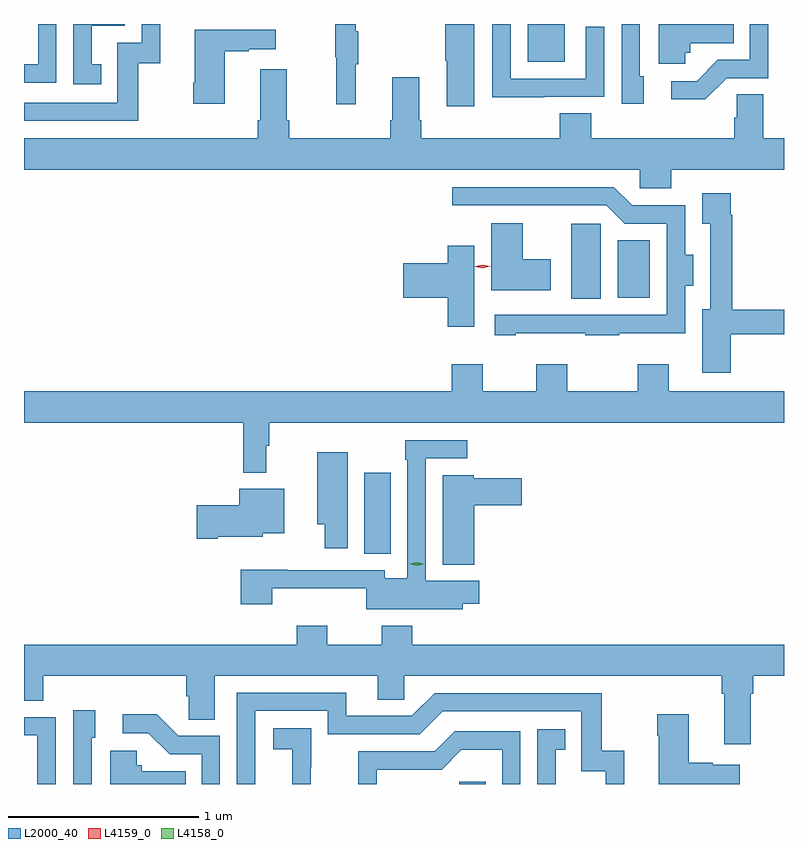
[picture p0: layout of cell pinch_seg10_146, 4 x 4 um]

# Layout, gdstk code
import gdstk
lib = gdstk.Library(unit=1e-6, precision=1e-09)
def R(c, l, rs):  # rectangles x0, y0, x1, y1
    for r in rs: c.add(gdstk.rectangle(r[:2], r[2:], *l))
def P(c, l, *ps):  # polygons
    for p in ps: c.add(gdstk.Polygon(p, *l))
L2000_40 = (2000, 40)
L4158_0 = (4158, 0)
L4159_0 = (4159, 0)

pinch_seg10_146 = lib.new_cell('pinch_seg10_146')
R(pinch_seg10_146, L2000_40, [(672.009,1274.438,672.149,1274.451), (671.51,1275.649,671.647,1276.075), (672.599,1276.993,672.754,1277.388), (672.842,1276.997,673.012,1277.299), (672.368,1278.239,672.565,1278.438)])
P(pinch_seg10_146, L2000_40, [(672.455,1278.054),(672.771,1278.054),(672.771,1278.424),(672.675,1278.424),(672.675,1278.15),(672.279,1278.15),(672.279,1278.438),(672.183,1278.438),(672.183,1278.053),(672.455,1278.053)],
  [(672.979,1278.162),(672.96,1278.162),(672.96,1278.438),(672.864,1278.438),(672.864,1278.018),(672.979,1278.018)],
  [(673.197,1278.288),(673.224,1278.288),(673.224,1278.338),(673.454,1278.338),(673.454,1278.438),(673.058,1278.438),(673.058,1278.23),(673.197,1278.23)],
  [(670.124,1278.225),(670.075,1278.225),(670.075,1278.429),(670.248,1278.429),(670.248,1278.438),(669.978,1278.438),(669.978,1278.12),(670.124,1278.12)],
  [(669.888,1278.438),(669.792,1278.438),(669.792,1278.226),(669.718,1278.226),(669.718,1278.129),(669.888,1278.129)],
  [(670.318,1278.231),(670.436,1278.231),(670.436,1278.438),(670.338,1278.438),(670.338,1278.339),(670.209,1278.339),(670.209,1278.024),(669.718,1278.024),(669.718,1277.928),(670.318,1277.928)],
  [(672.088,1278.438),(671.935,1278.438),(671.935,1278.244),(671.942,1278.244),(671.942,1278.006),(672.088,1278.006)],
  [(673.416,1278.153),(673.635,1278.153),(673.635,1278.438),(673.539,1278.438),(673.539,1278.249),(673.37,1278.249),(673.259,1278.138),(673.125,1278.138),(673.125,1278.041),(673.303,1278.041)],
  [(671.465,1278.227),(671.476,1278.227),(671.476,1278.401),(671.465,1278.401),(671.465,1278.438),(671.355,1278.438),(671.355,1278.264),(671.362,1278.264),(671.362,1278.015),(671.465,1278.015)],
  [(670.774,1278.295),(670.901,1278.295),(670.901,1278.305),(671.044,1278.305),(671.044,1278.409),(670.616,1278.409),(670.616,1278.13),(670.609,1278.13),(670.609,1278.018),(670.774,1278.018)],
  [(673.124,1277.672),(673.718,1277.672),(673.718,1277.836),(673.609,1277.836),(673.609,1278.068),(673.47,1278.068),(673.47,1277.945),(673.457,1277.945),(673.457,1277.836),(672.704,1277.836),(672.704,1277.969),(672.539,1277.969),(672.539,1277.836),(671.81,1277.836),(671.81,1277.932),(671.797,1277.932),(671.797,1278.157),(671.657,1278.157),(671.657,1277.932),(671.645,1277.932),(671.645,1277.836),(671.114,1277.836),(671.114,1277.932),(671.101,1277.932),(671.101,1278.199),(670.961,1278.199),(670.961,1277.932),(670.949,1277.932),(670.949,1277.836),(669.718,1277.836),(669.718,1277.672),(672.96,1277.672),(672.96,1277.574),(673.124,1277.574)],
  [(672.307,1276.811),(672.673,1276.811),(672.673,1276.8),(672.851,1276.8),(672.851,1276.811),(673.197,1276.811),(673.197,1277.06),(673.24,1277.06),(673.24,1277.224),(673.198,1277.224),(673.198,1277.484),(672.918,1277.484),(672.822,1277.58),(671.973,1277.58),(671.973,1277.484),(672.783,1277.484),(672.879,1277.388),(673.101,1277.388),(673.101,1276.908),(672.195,1276.908),(672.195,1276.8),(672.307,1276.8)],
  [(673.439,1276.806),(673.718,1276.806),(673.718,1276.934),(673.445,1276.934),(673.445,1277.435),(673.438,1277.435),(673.438,1277.548),(673.289,1277.548),(673.289,1277.387),(673.329,1277.387),(673.329,1276.936),(673.289,1276.936),(673.289,1276.602),(673.439,1276.602)],
  [(672.49,1277.2),(672.343,1277.2),(672.343,1277.389),(672.176,1277.389),(672.176,1277.036),(672.49,1277.036)],
  [(672.088,1277.272),(671.948,1277.272),(671.948,1277.18),(671.715,1277.18),(671.715,1276.997),(671.948,1276.997),(671.948,1276.845),(672.088,1276.845)],
  [(670.994,1276.217),(671.009,1276.217),(671.009,1276.34),(673.718,1276.34),(673.718,1276.504),(673.111,1276.504),(673.111,1276.648),(672.947,1276.648),(672.947,1276.504),(672.577,1276.504),(672.577,1276.648),(672.413,1276.648),(672.413,1276.504),(672.133,1276.504),(672.133,1276.648),(671.969,1276.648),(671.969,1276.504),(669.718,1276.504),(669.718,1276.34),(670.873,1276.34),(670.873,1276.077),(670.994,1276.077)],
  [(672.027,1275.386),(672.115,1275.386),(672.115,1275.508),(671.832,1275.508),(671.832,1276.152),(672.052,1276.152),(672.052,1276.248),(671.724,1276.248),(671.724,1276.145),(671.736,1276.145),(671.736,1275.52),(671.616,1275.52),(671.616,1275.564),(671.107,1275.564),(671.107,1275.565),(670.859,1275.565),(670.859,1275.384),(671.024,1275.384),(671.024,1275.467),(671.52,1275.467),(671.52,1275.359),(672.027,1275.359)],
  [(671.422,1276.183),(671.261,1276.183),(671.261,1275.806),(671.3,1275.806),(671.3,1275.678),(671.422,1275.678)],
  [(672.088,1275.905),(672.337,1275.905),(672.337,1276.047),(672.084,1276.047),(672.084,1276.063),(671.921,1276.063),(671.921,1275.593),(672.088,1275.593)],
  [(670.738,1275.74),(670.974,1275.74),(670.974,1275.758),(671.089,1275.758),(671.089,1275.991),(670.85,1275.991),(670.85,1275.906),(670.626,1275.906),(670.626,1275.728),(670.738,1275.728)],
  [(671.313,1275.271),(671.153,1275.271),(671.153,1275.172),(669.718,1275.172),(669.718,1274.875),(669.818,1274.875),(669.818,1275.008),(670.571,1275.008),(670.571,1274.899),(670.584,1274.899),(670.584,1274.776),(670.723,1274.776),(670.723,1275.008),(671.579,1275.008),(671.579,1274.881),(671.718,1274.881),(671.718,1275.008),(673.391,1275.008),(673.391,1274.912),(673.403,1274.912),(673.403,1274.646),(673.543,1274.646),(673.543,1274.912),(673.556,1274.912),(673.556,1275.008),(673.718,1275.008),(673.718,1275.172),(671.762,1275.172),(671.762,1275.271),(671.602,1275.271),(671.602,1275.172),(671.313,1275.172)],
  [(670.935,1274.823),(671.316,1274.823),(671.316,1274.7),(671.802,1274.7),(671.922,1274.82),(672.651,1274.82),(672.651,1274.505),(672.78,1274.505),(672.78,1274.438),(672.878,1274.438),(672.878,1274.614),(672.76,1274.614),(672.76,1274.916),(671.88,1274.916),(671.76,1274.796),(671.413,1274.796),(671.413,1274.919),(670.839,1274.919),(670.839,1274.438),(670.935,1274.438)],
  [(670.074,1274.682),(670.093,1274.682),(670.093,1274.827),(669.978,1274.827),(669.978,1274.438),(670.074,1274.438)],
  [(673.486,1274.539),(673.343,1274.539),(673.343,1274.549),(673.216,1274.549),(673.216,1274.806),(673.051,1274.806),(673.051,1274.693),(673.058,1274.693),(673.058,1274.438),(673.486,1274.438)],
  [(670.749,1274.691),(670.53,1274.691),(670.417,1274.804),(670.239,1274.804),(670.239,1274.706),(670.373,1274.706),(670.484,1274.595),(670.653,1274.595),(670.653,1274.438),(670.749,1274.438)],
  [(669.885,1274.79),(669.718,1274.79),(669.718,1274.694),(669.789,1274.694),(669.789,1274.438),(669.885,1274.438)],
  [(671.228,1274.525),(671.229,1274.525),(671.229,1274.731),(671.031,1274.731),(671.031,1274.621),(671.129,1274.621),(671.129,1274.438),(671.228,1274.438)],
  [(672.517,1274.619),(672.566,1274.619),(672.566,1274.725),(672.42,1274.725),(672.42,1274.438),(672.517,1274.438)],
  [(671.574,1274.514),(671.916,1274.514),(672.02,1274.618),(672.234,1274.618),(672.234,1274.438),(672.33,1274.438),(672.33,1274.715),(671.984,1274.715),(671.879,1274.61),(671.476,1274.61),(671.476,1274.438),(671.574,1274.438)],
  [(670.568,1274.506),(670.338,1274.506),(670.338,1274.538),(670.311,1274.538),(670.311,1274.614),(670.172,1274.614),(670.172,1274.438),(670.568,1274.438)])
P(pinch_seg10_146, L4158_0, [(671.783,1275.586),(671.749,1275.597),(671.748,1275.597),(671.749,1275.597),(671.784,1275.606),(671.819,1275.596),(671.819,1275.596),(671.819,1275.595)])
P(pinch_seg10_146, L4159_0, [(672.132,1277.152),(672.093,1277.161),(672.093,1277.162),(672.093,1277.162),(672.132,1277.172),(672.171,1277.164),(672.172,1277.163),(672.171,1277.163)])

lib.write_gds('pinch_seg10_146.gds')
